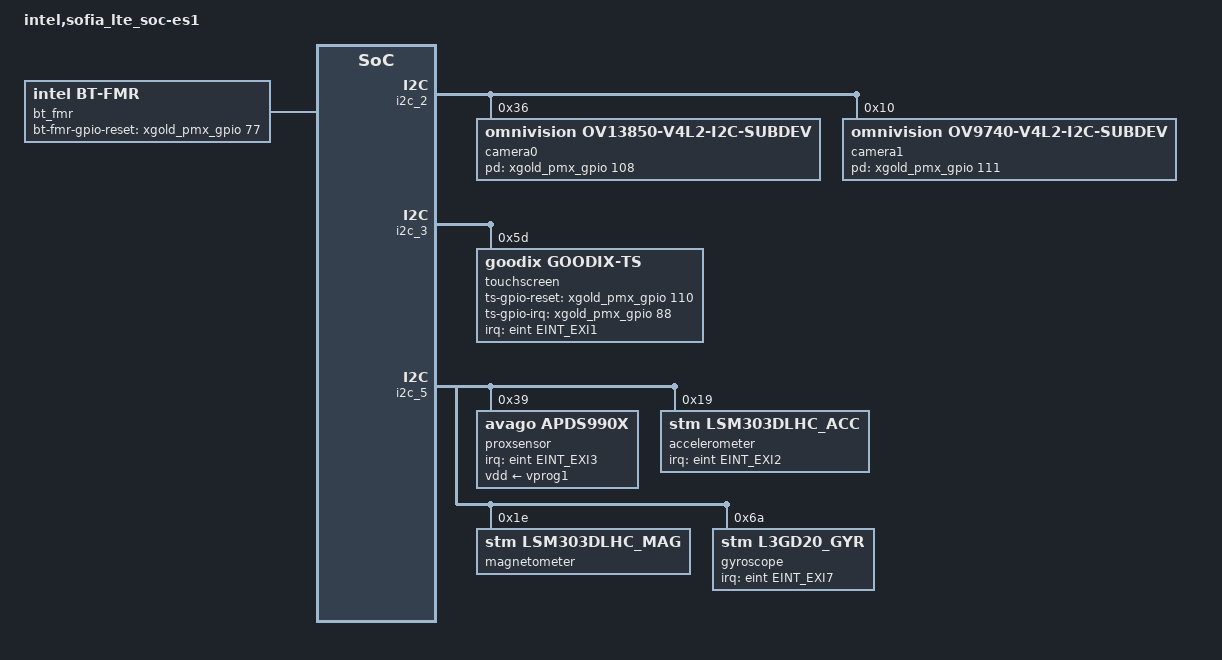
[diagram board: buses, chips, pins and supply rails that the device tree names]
/dts-v1/;

#include "xgold/sofia_lte_soc/irq.h"

/ {
	#address-cells = <1>;
	#size-cells = <1>;
	model = "intel,sofia_lte_soc-es1";
	compatible = "sofia_lte_soc-svb", "intel,xgold";

	#include "xgold/sofia_lte_soc/sofia_lte_soc.dtsi"
	#include "xgold/sofia_lte_soc/irq.dtsi"
	#include "xgold/pmic/sofia_lte.dtsi"
	#include "xgold/sofia_lte_soc/clock-es1.dtsi"
	#include "xgold/sofia_lte_soc/device-pm-reg.dtsi"
	/* FIXME: Add regulator.dtsi */

	chosen {
	};

	aliases {
	};

	memory {
		/* FIXME: Add memory desc */
	};

	cpufreq {
		/* FIXME:Add cpufreq desc */
	};

	ion {
		compatible = "intel,ion";
		cma-heap {
			intel,heapmem = <   0x00000000 0x08000000 >;
		};
	};

	bt_fmr {
		compatible = "intel,bt-fmr";
		pinctrl-names = "default", "sleep", "inactive";
		pinctrl-0 = <&bt_fmr_default_pins>;
		pinctrl-1 = <&bt_fmr_sleep_pins>;
		pinctrl-2 = <&bt_fmr_inactive_pins>;
		intel,bt-fmr-gpio-reset = <&xgold_pmx_gpio 77 >;
	};

	headset:headset {
		/* FIXME: Add headset desc */
	};

	lcd:lcd {
		compatible = "intel,lcd";
		pm,class-name = "generic_class";
		pm,user-name = "ext_display";
		pm,state-D0 = "enable";
		pm,state-D3 = "disable";
	};

	graphics {
		compatible = "intel,graphics";
		intel,gpu-shared-mem = <0x20000000>;
		intel,dcc-fbpixelformat= "RGB888";
		intel,dcc-debug-level = <1>;
#ifdef RECOVERY_KERNEL
		intel,fb-api = <1>;
		intel,dcc-mem = < 0x00800000 >;
#else
		intel,dcc-use-fences = <1>;
		intel,dcc-mem = < 0x00400000 >;
#endif
		intel,display-fps = <60>;
		intel,display-ramless = <1>;
		intel,display-preinit = <0>;
		intel,display-if = <&mipi_dsi>;
		intel,display-if-rate = <390000000>;
		/include/ "xgold/display/OTM1283.dtsi"
		mipi_dsi:mipi-dsi {
				intel,display-if-min = <104000000>;
				intel,display-if-max = <550000000>;
				intel,display-if-nblanes = <4>;
				intel,display-if-phy-pwup = <6>;
				intel,display-if-phy-calib = <3>;
				intel,display-if-phy-to_lp_hs_req = <24>;
				intel,display-if-phy-to_lp_hs_dis = <25>;
				intel,display-if-phy-to_lp_hs_eot = <60>;
				intel,display-if-phy-to_hs_zero = <8>;
				intel,display-if-phy-to_hs_flip = <24>;
				intel,display-if-phy-lp_clk_div = <31>;
				intel,display-if-phy-to_hs_clk_pre = <36>;
				intel,display-if-phy-to_hs_clk_post = <42>;
				intel,display-if-phy-data_delay = <7>;
				intel,display-if-phy-clock_delay = <7>;
				intel,display-if-phy-lp_tx_tfall = <2>;
				intel,display-if-phy-lp_tx_rise = <2>;
				intel,display-if-phy-lp_tx_vref = <31>;
		};
	};

	sound {
		compatible = "intel,xgold-snd-asoc";
		intel,audio-codec = <&pmic_afe>;
		intel,pcm-audio = <&pcm_music>;
		intel,pcm-voice = <&pcm_voice>;
		intel,speech = <&speech_probe>;
	};
	xgold_pmic {
		/* compatible = "intel,xgold_pmic"; */
		intel,adapter = < &i2c_1 >;
		intel,slave-addr = /bits/ 8 < 0x4f 0x5e 0x5f 0x6d 0x6e >;
		intel,slave-names = "dev2", "dev3", "dev4", "dev5", "dev6";
	};

	radio {
		compatible = "intel,fm-radio";
	};
};

&dcc {
	/* FIXME: Add dcc desc */
};

&usif1 {
	pinctrl-names = "default", "sleep", "inactive";
	pinctrl-0 = <&usif1_default_pins>;
	pinctrl-1 = <&usif1_sleep_pins>;
	pinctrl-2 = <&usif1_inactive_pins>;
};

&i2c_1 {
	pinctrl-names = "default", "sleep", "inactive";
	pinctrl-0 = <&i2c1_default_pins>;
	pinctrl-1 = <&i2c1_sleep_pins>;
	pinctrl-2 = <&i2c1_inactive_pins>;
	#include "xgold/sofia_lte_soc/regulator.dtsi"
};

&i2c_2 {
	pinctrl-names = "default", "sleep", "inactive";
	pinctrl-0 = <&i2c2_default_pins>;
	pinctrl-1 = <&i2c2_sleep_pins>;
	pinctrl-2 = <&i2c2_inactive_pins>;
#ifndef RECOVERY_KERNEL
	camera0: camera-module@0 {
		compatible = "omnivision,ov13850-v4l2-i2c-subdev";
		reg = < 0x36 >;
		device_type = "v4l2-i2c-subdev";

		pinctrl-names = "default", "sleep", "inactive";
		pinctrl-0 = <&cam1_function_B_active_pins>;
		pinctrl-1 = <&cam1_function_B_sleep_pins>;
		pinctrl-2 = <&cam1_function_B_inactive_pins>;

		intel,pd-gpio = <&xgold_pmx_gpio 108>;
		/*intel,pd-gpio_1v2 = <&xgold_pmx_gpio 68>;*/
		intel,pd-gpio_1v2;
		intel,pd-gpio-is_active_low;
	/*	intel,flash-gpio = <&xgold_pmx_gpio 37>;
		intel,torch-gpio = <&xgold_pmx_gpio 38>;*/

		pm,class-name = "generic_class";
		pm,user-name = "ext_prim_cam";
		pm,state-D0 = "enable";
		pm,state-D3 = "disable";

		/* ["front","back"] */
		intel,camera-module-facing = "back";
		/* ["landscape","landscape-flipped","portrait","portrait-flipped"] */
		intel,camera-module-mounting = "landscape";
	/*	intel,camera-module-flash-support = <1>;
		intel,camera-module-flash-exp-time = <5000>;*/

		intel,camera-module-csi-config-0 {
			intel,csi-pixels-per-second = <0>;
			intel,csi-vc = <0>;
			intel,csi-lanes = <2>;
			intel,csi-dphy1 = <0x2014183>;
			intel,csi-dphy2 = <0x00>;
			intel,csi-ana-bandgap-bias = <3>;
		};
		intel,camera-module-csi-config-1 {
			intel,csi-pixels-per-second = <100000000>;
			intel,csi-vc = <0>;
			intel,csi-lanes = <4>;
			intel,csi-dphy1 = <0x600E1C1>;
			intel,csi-dphy2 = <0x00>;
			intel,csi-ana-bandgap-bias = <3>;
		};
	};
#endif
#ifndef RECOVERY_KERNEL
	camera1: camera-module@1 {
		compatible = "omnivision,ov9740-v4l2-i2c-subdev";
		reg = < 0x10 >;
		device_type = "v4l2-i2c-subdev";

		pinctrl-names = "default", "sleep", "inactive";
		pinctrl-0 = <&cam2_function_B_active_pins>;
		pinctrl-1 = <&cam2_function_B_sleep_pins>;
		pinctrl-2 = <&cam2_function_B_inactive_pins>;

		intel,pd-gpio = <&xgold_pmx_gpio 111>;

		pm,class-name = "generic_class";
		pm,user-name = "ext_sec_cam";
		pm,state-D0 = "enable";
		pm,state-D3 = "disable";

		intel,camera-module-facing = "front";
		/* ["landscape","landscape-flipped","portrait","portrait-flipped"] */
		intel,camera-module-mounting = "landscape";

		intel,camera-module-csi-config-0 {
			intel,csi-pixels-per-second = <0>;
			intel,csi-vc = <0>;
			intel,csi-lanes = <1>;
			intel,csi-dphy1 = <0x01081c1>;
			intel,csi-dphy2 = <0x44>;
			intel,csi-ana-bandgap-bias = <0>;
		};

	};
#endif
};

&i2c_3 {
	pinctrl-names = "default", "sleep", "inactive";
	pinctrl-0 = <&i2c3_default_pins>;
	pinctrl-1 = <&i2c3_sleep_pins>;
	pinctrl-2 = <&i2c3_inactive_pins>;
	touchscreen {
		compatible = "goodix,Goodix-TS";
		reg = < 0x5d >;
		interrupt-parent = <&eint>;
		interrupts = < EINT_EXI1 XGOLD_IRQ_TYPE_EDGE_FALLING >;
		pinctrl-names = "default", "sleep", "inactive", "gpio";
		pinctrl-0 = <&touch_default_pins>;
		pinctrl-1 = <&touch_sleep_pins>;
		pinctrl-2 = <&touch_inactive_pins>;
		pinctrl-3 = <&touch_gpio_pins>;
		intel,ts-gpio-reset = <&xgold_pmx_gpio 110>;
		intel,ts-gpio-irq = <&xgold_pmx_gpio 88>;
		pm,class-name = "gt9xx_class";
		pm,user-name = "ext_tp";
		pm,state-D0 = "enable";
		pm,state-D3 = "disable";
	};
};

&i2c_4 {
	pinctrl-names = "default", "sleep", "inactive";
	pinctrl-0 = <&i2c4_default_pins>;
	pinctrl-1 = <&i2c4_sleep_pins>;
	pinctrl-2 = <&i2c4_inactive_pins>;
};

&i2c_5 {
	pinctrl-names = "default", "sleep", "inactive";
	pinctrl-0 = <&i2c5_default_pins>;
	pinctrl-1 = <&i2c5_sleep_pins>;
	pinctrl-2 = <&i2c5_inactive_pins>;
	proxsensor {
		compatible = "avago,apds990x";
		reg = < 0x39 >;
		interrupt-parent = <&eint>;
		interrupts = < EINT_EXI3 XGOLD_IRQ_TYPE_EDGE_FALLING >;
		pinctrl-names = "default", "sleep", "inactive";
		pinctrl-0 = <&prox_default_pins>;
		pinctrl-1 = <&prox_sleep_pins>;
		pinctrl-2 = <&prox_inactive_pins>;
		intel,pdrive = /bits/ 8 < 64 >;
		intel,ppcount = /bits/ 8 < 64 >;
		vdd-supply = < &vprog1 >;
		pm,class-name = "apds990x_class";
		pm,user-name = "ext_proximity_sensor";
		pm,state-D0 = "enable";
		pm,state-D3 = "disable";
	};

	accelerometer {
		compatible = "stm,lsm303dlhc_acc";
		reg = < 0x19 >;
		interrupt-parent = <&eint>;
		interrupts = < EINT_EXI2 XGOLD_IRQ_TYPE_LEVEL_HIGH >;
		intel,axis-map = < 0 1 2 >;
		intel,negate = < 0 0 0 >;
		intel,poll-interval = < 100 >;
		pinctrl-names = "default", "sleep", "inactive";
		pinctrl-0 = <&accel_default_pins>;
		pinctrl-1 = <&accel_sleep_pins>;
		pinctrl-2 = <&accel_inactive_pins>;
		pm,class-name = "lsm303dlhc_acc_class";
		pm,user-name = "ext_accelerometer";
		pm,state-D0 = "enable";
		pm,state-D3 = "disable";
	};

	magnetometer {
		compatible = "stm,lsm303dlhc_mag";
		reg = < 0x1e >;
		intel,axis-map = < 0 1 2 >;
		intel,negate = < 0 0 0 >;
		intel,offset = < 0 0 0 >;
		intel,poll-interval = < 100 >;
		pm,class-name = "lsm303dlhc_mag_class";
		pm,user-name = "ext_magnetometer";
		pm,state-D0 = "enable";
		pm,state-D3 = "disable";
	};

	gyroscope {
		compatible = "stm,l3gd20_gyr";
		reg = < 0x6a >;
		interrupt-parent = <&eint>;
		interrupts = < EINT_EXI7 XGOLD_IRQ_TYPE_EDGE_RISING >;
		pinctrl-names = "default", "sleep", "inactive";
		pinctrl-0 = <&gyroscope_default_pins>;
		pinctrl-1 = <&gyroscope_sleep_pins>;
		pinctrl-2 = <&gyroscope_inactive_pins>;
		intel,axis-map = < 1 0 2 >;
		intel,negate = < 0 0 0 >;
		intel,poll-interval = < 100 >;
		intel,full-scale = < 2000 >;
		pm,class-name = "l3gd20_class";
		pm,user-name = "ext_gyroscope";
		pm,state-D0 = "enable";
		pm,state-D3 = "disable";
	};

};

&gnss {
	pinctrl-names = "default", "sleep", "inactive";
	pinctrl-0 = <&gnss_default_pins>;
	pinctrl-1 = <&gnss_sleep_pins>;
	pinctrl-2 = <&gnss_inactive_pins>;
};

&usif3 {
	pinctrl-names = "default", "sleep", "inactive";
	pinctrl-0 = <&bt_usif_default_pins>;
	pinctrl-1 = <&bt_usif_sleep_pins>;
	pinctrl-2 = <&bt_usif_inactive_pins>;
};


&keypad {
	pinctrl-names = "default", "sleep", "inactive";
	pinctrl-0 = <&kp_default_pins>;
	pinctrl-1 = <&kp_sleep_pins>;
	pinctrl-2 = <&kp_inactive_pins>;
	keypad,num-rows = <4>;
	keypad,num-columns = <8>;
	keypad,rows = <0 2 3>;
	keypad,columns = <0 1 2>;
	linux,keymap = <
		0x00000073	/* KEY_VOLUMEUP */
		0x00010066	/* KEY_HOME */
		0x00020000	/* KEY_RESERVED */
		0x00030000	/* KEY_RESERVED */
		0x00040000	/* KEY_RESERVED */
		0x00050000	/* KEY_RESERVED */
		0x00060000	/* KEY_RESERVED */
		0x00070000	/* KEY_RESERVED */
		0x01000000	/* KEY_RESERVED */
		0x01010000	/* KEY_RESERVED */
		0x01020000	/* KEY_RESERVED */
		0x01030000	/* KEY_RESERVED */
		0x01040000	/* KEY_RESERVED */
		0x01050000	/* KEY_RESERVED */
		0x01060000	/* KEY_RESERVED */
		0x01070000	/* KEY_RESERVED */
		0x02000072	/* KEY_VOLUMEDOWN */
		0x02010000	/* KEY_RESERVED */
		0x02020000	/* KEY_RESERVED */
		0x03000074 >;	/* KEY_POWER */
};

&sdmmc {
	intel,tap_values = <0x0C51020 0x0C41020 0x0C41020 0x0C41020 0x0C51020 0x0F50F20 0x0F50F20 >;
	pinctrl-names = "default", "sleep", "inactive";
	pinctrl-0 = <&sdmmc_default_pins>;
	pinctrl-1 = <&sdmmc_sleep_pins>;
	pinctrl-2 = <&sdmmc_inactive_pins>;
};

&emmc {
	intel,tap_values = <0x0F51020 0x0C41020 0x0C51020 0x0C41020 0x0C51021 0x0A50F11 0x0A50F11 >;
	pinctrl-names = "default", "sleep", "inactive";
	pinctrl-0 = <&emmc_default_pins>;
	pinctrl-1 = <&emmc_sleep_pins>;
	pinctrl-2 = <&emmc_inactive_pins>;

};

&sdio {
	intel,tap_values = <0x0C51020 0x0C41020 0x0C41020 0x0C41020 0x0C51021 0x0A40F20 0x0370001 >;
	pinctrl-names = "default", "sleep", "inactive";
	pinctrl-0 = <&sdio_default_pins>;
	pinctrl-1 = <&sdio_sleep_pins>;
	pinctrl-2 = <&sdio_inactive_pins>;
};

#ifndef RECOVERY_KERNEL
&cif {
	intel,camera-modules-attached = <&camera0 &camera1>;
};
#endif

#include "xgold/sofia_lte_soc/pinctrl-sf_lte-svb.dtsi"
